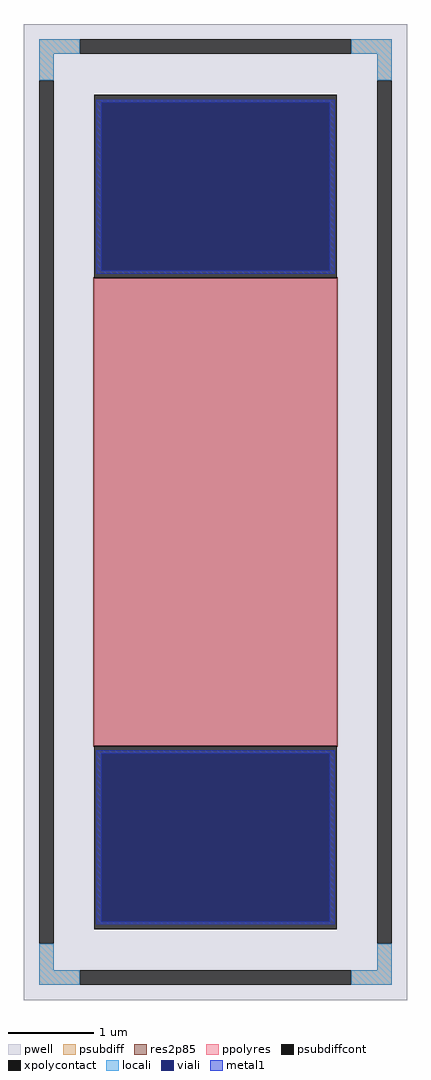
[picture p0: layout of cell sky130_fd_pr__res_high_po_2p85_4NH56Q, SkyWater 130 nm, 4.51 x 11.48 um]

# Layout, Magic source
magic
tech sky130A
magscale 1 2
<< pwell >>
rect -451 -1148 451 1148
<< psubdiff >>
rect -415 1078 -319 1112
rect 319 1078 415 1112
rect -415 1016 -381 1078
rect 381 1016 415 1078
rect -415 -1078 -381 -1016
rect 381 -1078 415 -1016
rect -415 -1112 -319 -1078
rect 319 -1112 415 -1078
<< psubdiffcont >>
rect -319 1078 319 1112
rect -415 -1016 -381 1016
rect 381 -1016 415 1016
rect -319 -1112 319 -1078
<< xpolycontact >>
rect -285 550 285 982
rect -285 -982 285 -550
<< ppolyres >>
rect -285 -550 285 550
<< locali >>
rect -415 1078 -319 1112
rect 319 1078 415 1112
rect -415 1016 -381 1078
rect 381 1016 415 1078
rect -415 -1078 -381 -1016
rect 381 -1078 415 -1016
rect -415 -1112 -319 -1078
rect 319 -1112 415 -1078
<< viali >>
rect -269 567 269 964
rect -269 -964 269 -567
<< metal1 >>
rect -281 964 281 970
rect -281 567 -269 964
rect 269 567 281 964
rect -281 561 281 567
rect -281 -567 281 -561
rect -281 -964 -269 -567
rect 269 -964 281 -567
rect -281 -970 281 -964
<< res2p85 >>
rect -287 -552 287 552
<< properties >>
string FIXED_BBOX -398 -1095 398 1095
string gencell sky130_fd_pr__res_high_po_2p85
string library sky130
string parameters w 2.850 l 5.5 m 1 nx 1 wmin 2.850 lmin 0.50 rho 319.8 val 753.873 dummy 0 dw 0.0 term 194.82 sterm 0.0 caplen 0 guard 1 glc 1 grc 1 gtc 1 gbc 1 compatible {sky130_fd_pr__res_high_po_0p35  sky130_fd_pr__res_high_po_0p69 sky130_fd_pr__res_high_po_1p41  sky130_fd_pr__res_high_po_2p85 sky130_fd_pr__res_high_po_5p73} snake 0 full_metal 1 wmax 2.850 n_guard 0 hv_guard 0 vias 1 viagb 0 viagt 0 viagl 0 viagr 0
<< end >>
